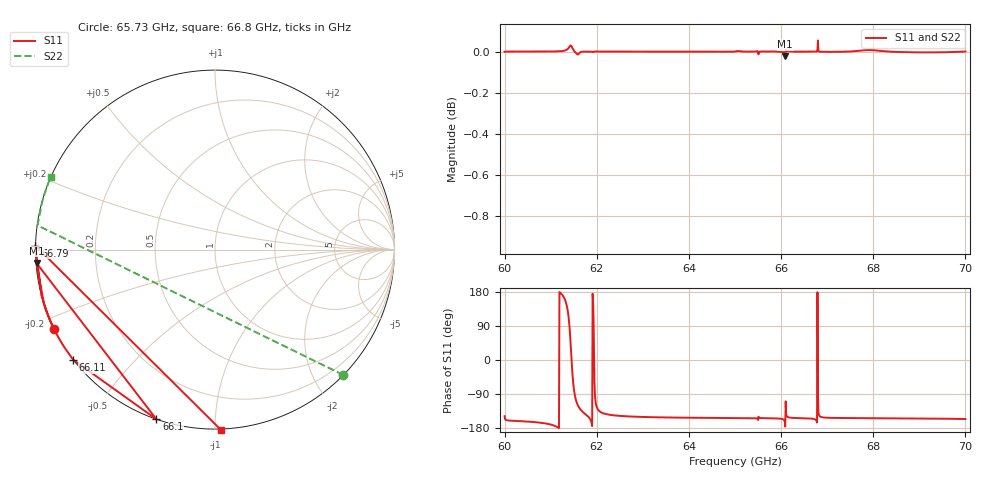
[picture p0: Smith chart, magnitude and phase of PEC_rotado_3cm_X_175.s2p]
! TOUCHSTONE file generated by CST MICROWAVE STUDIO
! Date and time: Sat Feb 17 15:53:17 2024
! Project name: metal_rotado.cst
! Parameters = {PX=1.75; angX=2; angY=2}
! Header version: 2018
! Port assignment regex: !\s*Touchstone port\s*([0-9]+)\s*=\s*(CST MWS port|CST DS port)\s*([0-9]+|Zmin|Zmax)\s*\(\"(.*)\"\)(\s*mode\s*([0-9]+))?.*
! Touchstone port assignment:
! Touchstone port 1 = CST MWS port 1 ("")
! Touchstone port 2 = CST MWS port 2 ("")
# GHz S MA R 376.7
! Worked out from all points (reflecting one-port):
!   1001 points, 60 GHz to 70 GHz, reference 376.7 ohm
!   lowest |S11| = 0.0 dB at 66.09 GHz (marker M1), VSWR 739.19, Z = 0.51 - j14.2 ohm
!   phase of S11 starts at -148 deg and turns -728 deg over the sweep
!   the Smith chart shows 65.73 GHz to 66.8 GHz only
!   S11 on the Smith chart (normalised r, x): 65.73 GHz: 0.00, -0.23; 66.1 GHz: 0.00, -0.71; 66.11 GHz: -0.00, -0.34; 66.79 GHz: -0.00, +0.01; 66.8 GHz: -0.01, -1.03
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60  0.9999 -148.2  1.506e-65 180.0  1.506e-65 180.0  1 134.4
60.19  1 -160.5  1.3e-65 180.0  1.3e-65 180.0  0.9889 27.6
60.27  1 -161.0  1.305e-65 -179.8  1.305e-65 -179.8  1 -117.4
60.4  1 -161.8  1.206e-65 -179.9  1.206e-65 -179.9  1 -170.2
61.26  1 170.4  1.106e-65 179.9  1.106e-65 179.9  0.9999 164.2
61.39  1.002 111.7  1.004e-65 179.8  1.004e-65 179.8  0.9999 163.4
61.46  1.003 -15.1  1e-65 180.0  1e-65 180.0  1 163.0
61.52  1 -90.0  0 0.0  0 0.0  1 162.6
61.67  0.9999 -133.9  9.041e-66 -179.9  9.041e-66 -179.9  1 161.3
61.89  0.9999 -167.7  7.037e-66 180.0  7.037e-66 180.0  1 162.6
62  1 -124.5  6.025e-66 -179.9  6.025e-66 -179.9  1 162.0
63.34  1 -151.3  4.02e-66 -180.0  4.02e-66 -180.0  0.9999 159.4
65  1 -153.2  0 0.0  0 0.0  1 157.3
65.73  1 -153.7  0 0.0  0 0.0  1 -44.3
66.09  0.9973 -175.7  5.027e-66 -0.0  5.027e-66 -0.0  1 157.1
66.1  1 -109.1  0 0.0  0 0.0  1 157.1
66.11  1.001 -142.2  5.024e-66 0.0  5.024e-66 0.0  1 157.1
66.67  1 -154.8  7.035e-66 0.0  7.035e-66 0.0  1 156.2
66.79  1.001 178.7  0 0.0  0 0.0  1 156.1
66.8  1.006 -88.0  9.022e-66 0.1  9.022e-66 0.1  1 156.0
68.34  1 -153.8  1.206e-65 -0.0  1.206e-65 -0.0  1 153.4
70  1 -155.8  0 0.0  0 0.0  1 139.1
